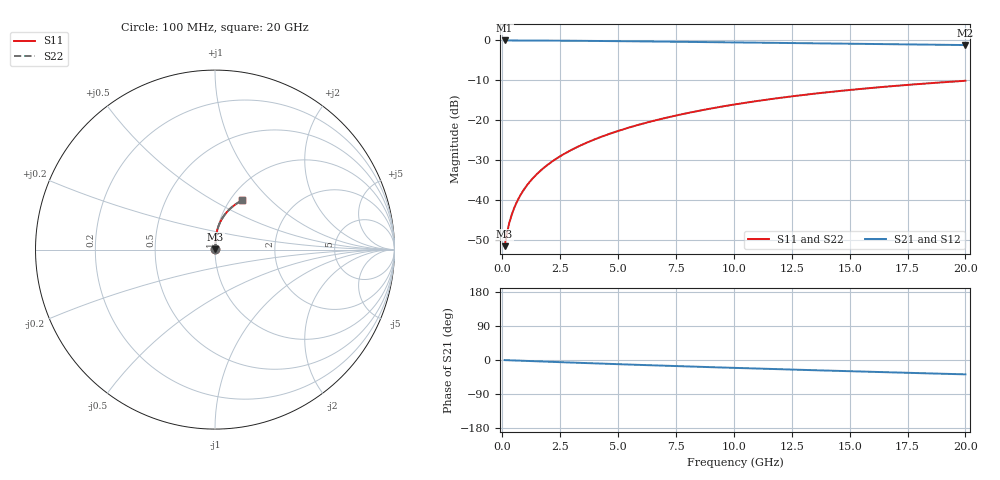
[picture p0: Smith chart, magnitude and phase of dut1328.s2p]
! Touchstone file exported from HFSS 2024.1.0
!  File:  C:/UserFiles/LocalFiles/RDL_TSV_Batchsim/temp_RDL_bottom_1328_1780369267.aedt
!  Generated:  11:03:33 AM Jun  2, 2026
!  Design:  RDL_bottom
!  Project:  temp_RDL_bottom_1328_1780369267
!  Setup:  Setup1
!  Solution:  Sweep
! Variables:
!  dtsv = 10.80580581um
!  hbump = 3um
!  htsv = 61.61um
!  ldown = 577.03um
!  lrdl = 100um
!  p = 40
!  p1 = 45.12um
!  rhole = 1um
!  t = 450um
!  tdown = 4.58um
!  trdl = 3.915915916um
!  wdown = 22.73um
!  wrdl = 20um
# GHz S MA R 50.000000
! Terminal data exported
! Port[1] = RDL1_T1
! Port[2] = RDL1_T2
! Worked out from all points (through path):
!   200 points, 100 MHz to 20 GHz, reference 50 ohm
!   highest |S21| = -0.02 dB at 100 MHz (marker M1); lowest = -1.2 dB at 20 GHz (marker M2)
!   group delay of S21, straight-line fit = 5.21 ps
!   lowest |S11| = -51.4 dB at 100 MHz (marker M3), VSWR 1.01, Z = 50.2 + j0.161 ohm
!   |S11| at or under -10 dB: start of sweep to end of sweep
!   |S22| runs from -51.4 to -10.1 dB; largest |S21 - S12| = 3.6e-15
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0.1  0.002685 36.8  0.9978 -0.2  0.9978 -0.2  0.002685 36.8
! Gamma 0 0 0 0
! Port Impedance 50 0 50 0
0.2  0.00389 54.1  0.9977 -0.5  0.9977 -0.5  0.00389 54.1
0.3  0.005219 62.3  0.9975 -0.7  0.9975 -0.7  0.005219 62.3
0.4  0.006553 67.0  0.9973 -0.9  0.9973 -0.9  0.006554 67.0
0.5  0.00788 70.3  0.9971 -1.2  0.9971 -1.2  0.007881 70.3
0.6  0.009206 72.7  0.997 -1.4  0.997 -1.4  0.009206 72.7
0.8  0.01187 76.1  0.9967 -1.9  0.9967 -1.9  0.01187 76.1
1.1  0.01593 79.4  0.9961 -2.5  0.9961 -2.5  0.01593 79.4
1.3  0.01868 80.8  0.9957 -3.0  0.9957 -3.0  0.01868 80.8
1.6  0.02285 82.4  0.9949 -3.7  0.9949 -3.7  0.02285 82.4
2.1  0.02992 84.0  0.9933 -4.8  0.9933 -4.8  0.02992 84.0
2.7  0.0386 85.1  0.9909 -6.1  0.9909 -6.1  0.0386 85.1
3.5  0.05051 85.7  0.987 -7.9  0.987 -7.9  0.05051 85.7
4.2  0.06124 85.8  0.9831 -9.4  0.9831 -9.4  0.06125 85.8
5  0.07386 85.5  0.9783 -11.0  0.9783 -11.0  0.07387 85.5
6.8  0.1034 83.9  0.9663 -14.7  0.9663 -14.7  0.1034 83.9
8.4  0.1304 81.7  0.9551 -17.8  0.9551 -17.8  0.1305 81.7
10.1  0.1594 79.0  0.9432 -20.9  0.9432 -20.9  0.1595 79.0
11.7  0.1865 76.1  0.9319 -23.8  0.9319 -23.8  0.1865 76.1
13.4  0.2145 73.0  0.9199 -26.8  0.9199 -26.8  0.2146 73.0
16.7  0.2661 67.0  0.8968 -32.5  0.8968 -32.5  0.2662 67.0
20  0.3128 61.1  0.874 -37.9  0.874 -37.9  0.313 61.1
